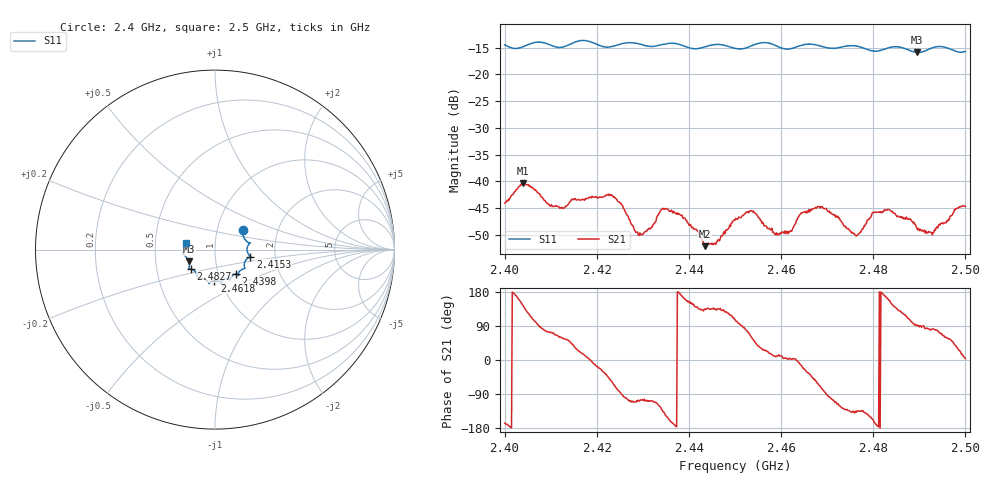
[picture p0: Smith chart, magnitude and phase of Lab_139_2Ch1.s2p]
# Hz S RI R 50
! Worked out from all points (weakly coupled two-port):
!   601 points, 2.4 GHz to 2.5 GHz, reference 50 ohm
!   highest |S21| = -40.39 dB at 2.404 GHz (marker M1); lowest = -52.1 dB at 2.4435 GHz (marker M2)
!   lowest |S11| = -15.9 dB at 2.4895 GHz (marker M3), VSWR 1.38, Z = 37 - j5.01 ohm
!   |S11| at or under -10 dB: start of sweep to end of sweep
!   S12 and S22 are empty: the file has one direction only
!   S11 on the Smith chart (normalised r, x): 2.4 GHz: 1.33, +0.30; 2.4153 GHz: 1.48, -0.12; 2.4398 GHz: 1.21, -0.34; 2.4618 GHz: 0.94, -0.33; 2.4827 GHz: 0.75, -0.17; 2.5 GHz: 0.72, +0.06
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2.4e9  0.155 0.1073  -0.00607 -0.00147  0 0  0 0
2.404e9  0.1747 0.0478  -0.00768 0.0057  0 0  0 0
2.410333e9  0.1836 0.023  0.00179 0.00555  0 0  0 0
2.415333e9  0.1964 -0.0391  0.00583 0.00368  0 0  0 0
2.416667e9  0.2025 -0.0432  0.00632 0.00216  0 0  0 0
2.423333e9  0.1629 -0.0809  0.00391 -0.00627  0 0  0 0
2.4295e9  0.1574 -0.1082  -0.000839 -0.00307  0 0  0 0
2.433333e9  0.1294 -0.134  -0.00228 -0.00425  0 0  0 0
2.439833e9  0.1153 -0.1354  -0.00369 0.00168  0 0  0 0
2.4435e9  0.0866 -0.1587  -0.00173 0.00177  0 0  0 0
2.45e9  0.0656 -0.1622  -0.00126 0.00414  0 0  0 0
2.453667e9  0.0365 -0.1819  0.00276 0.0045  0 0  0 0
2.458667e9  0.0335 -0.1842  0.00313 0.000564  0 0  0 0
2.461833e9  -0.00314 -0.1728  0.00334 0.000281  0 0  0 0
2.466667e9  -0.0346 -0.1882  0.00385 -0.00382  0 0  0 0
2.469333e9  -0.0423 -0.1749  0.000697 -0.00547  0 0  0 0
2.476333e9  -0.0959 -0.157  -0.00229 -0.00205  0 0  0 0
2.482667e9  -0.135 -0.1084  -0.00531 0.00109  0 0  0 0
2.483333e9  -0.1402 -0.108  -0.00504 0.00203  0 0  0 0
2.4895e9  -0.1457 -0.066  -8.48e-06 0.00361  0 0  0 0
2.493e9  -0.176 -0.0267  0.000452 0.0033  0 0  0 0
2.5e9  -0.1591 0.0386  0.00578 0.000351  0 0  0 0
